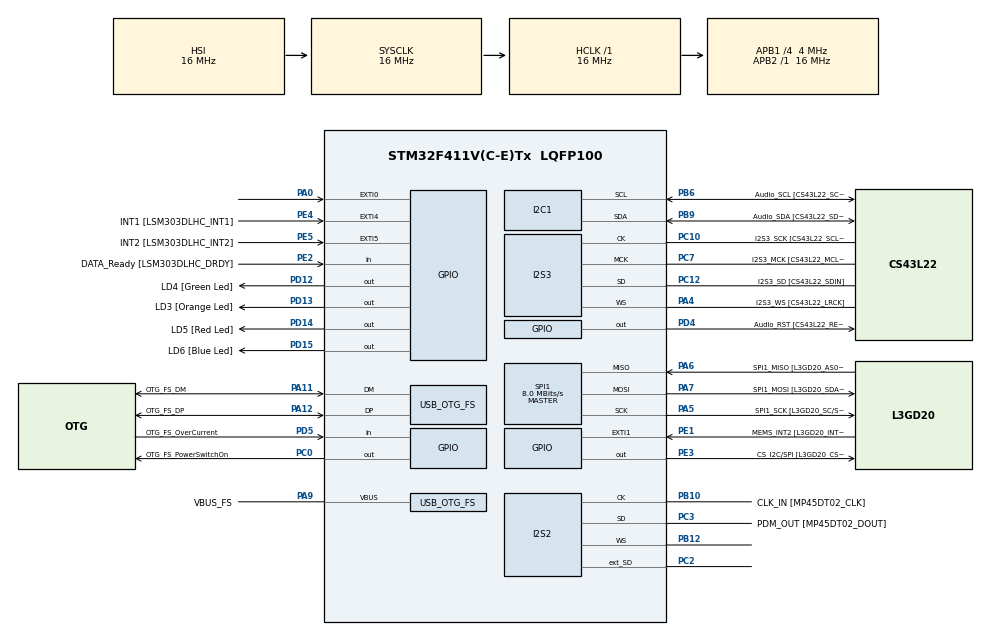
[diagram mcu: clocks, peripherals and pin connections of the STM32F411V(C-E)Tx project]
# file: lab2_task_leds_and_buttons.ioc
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I2S2.AudioFreq=I2S_AUDIOFREQ_96K
I2S2.ErrorAudioFreq=-1.35 %
I2S2.FullDuplexMode=I2S_FULLDUPLEXMODE_ENABLE
I2S2.Instance=SPI$Index
I2S2.RealAudioFreq=94.696 KHz
I2S2.VirtualMode=I2S_MODE_MASTER
I2S3.AudioFreq=I2S_AUDIOFREQ_96K
I2S3.ErrorAudioFreq=1.72 %
I2S3.FullDuplexMode=I2S_FULLDUPLEXMODE_DISABLE
I2S3.Instance=SPI$Index
I2S3.RealAudioFreq=97.656 KHz
I2S3.VirtualMode=I2S_MODE_MASTER
Mcu.Family=STM32F4
Mcu.Name=STM32F411V(C-E)Tx
Mcu.Package=LQFP100
NVIC.EXTI0_IRQn=true\:0\:0\:false\:false\:true\:true\:true\:true
NVIC.OTG_FS_IRQn=true\:0\:0\:false\:false\:true\:true\:true\:true
NVIC.PriorityGroup=NVIC_PRIORITYGROUP_0
PA0-WKUP.Signal=GPXTI0
PA10.GPIO_Label=OTG_FS_ID
PA10.Signal=USB_OTG_FS_ID
PA11.GPIO_Label=OTG_FS_DM
PA11.Mode=Host_Only
PA11.Signal=USB_OTG_FS_DM
PA12.GPIO_Label=OTG_FS_DP
PA12.Mode=Host_Only
PA12.Signal=USB_OTG_FS_DP
PA13.GPIO_Label=SWDIO
PA13.Mode=Serial_Wire
PA13.Signal=SYS_JTMS-SWDIO
PA14.GPIO_Label=SWCLK
PA14.Mode=Serial_Wire
PA14.Signal=SYS_JTCK-SWCLK
PA4.GPIO_Label=I2S3_WS [CS43L22_LRCK]
PA4.GPIO_Mode=GPIO_MODE_AF_PP
PA4.GPIO_PuPd=GPIO_NOPULL
PA4.GPIO_Speed=GPIO_SPEED_FREQ_LOW
PA4.Mode=Half_Duplex_Master
PA4.Signal=I2S3_WS
PA5.GPIO_Label=SPI1_SCK [L3GD20_SC/SPC]
PA5.Mode=Full_Duplex_Master
PA5.Signal=SPI1_SCK
PA6.GPIO_Label=SPI1_MISO [L3GD20_AS0/SDO]
PA6.Mode=Full_Duplex_Master
PA6.Signal=SPI1_MISO
PA7.GPIO_Label=SPI1_MOSI [L3GD20_SDA/SDI/SDO]
PA7.Mode=Full_Duplex_Master
PA7.Signal=SPI1_MOSI
PA9.GPIO_Label=VBUS_FS
PA9.Mode=Activate_VBUS
PA9.Signal=USB_OTG_FS_VBUS
PB10.GPIO_Label=CLK_IN [MP45DT02_CLK]
PB10.Mode=Full_Duplex_Master
PB10.Signal=I2S2_CK
PB12.Mode=Full_Duplex_Master
PB12.Signal=I2S2_WS
PB3.GPIO_Label=SWO
PB3.Signal=SYS_JTDO-SWO
PB6.GPIO_Label=Audio_SCL [CS43L22_SCL]
PB6.GPIO_Mode=GPIO_MODE_AF_OD
PB6.GPIO_Pu=GPIO_PULLUP
PB6.GPIO_PuPd=GPIO_NOPULL
PB6.GPIO_Speed=GPIO_SPEED_FREQ_LOW
PB6.Mode=I2C
PB6.Signal=I2C1_SCL
PB9.GPIO_Label=Audio_SDA [CS43L22_SDA]
PB9.GPIO_Mode=GPIO_MODE_AF_OD
PB9.GPIO_Pu=GPIO_PULLUP
PB9.GPIO_PuPd=GPIO_NOPULL
PB9.GPIO_Speed=GPIO_SPEED_FREQ_LOW
PB9.Mode=I2C
PB9.Signal=I2C1_SDA
PC0.GPIO_Label=OTG_FS_PowerSwitchOn
PC0.PinState=GPIO_PIN_SET
PC0.Signal=GPIO_Output
PC10.GPIO_Label=I2S3_SCK [CS43L22_SCLK]
PC10.GPIO_Mode=GPIO_MODE_AF_PP
PC10.GPIO_PuPd=GPIO_NOPULL
PC10.GPIO_Speed=GPIO_SPEED_FREQ_LOW
PC10.Mode=Half_Duplex_Master
PC10.Signal=I2S3_CK
PC12.GPIO_Label=I2S3_SD [CS43L22_SDIN]
PC12.GPIO_Mode=GPIO_MODE_AF_PP
PC12.GPIO_PuPd=GPIO_NOPULL
PC12.GPIO_Speed=GPIO_SPEED_FREQ_LOW
PC12.Mode=Half_Duplex_Master
PC12.Signal=I2S3_SD
PC14-OSC32_IN.GPIO_Label=PC14-OSC32_IN
PC14-OSC32_IN.Mode=LSE-External-Oscillator
PC14-OSC32_IN.Signal=RCC_OSC32_IN
PC15-OSC32_OUT.GPIO_Label=PC15-OSC32_OUT
PC15-OSC32_OUT.Mode=LSE-External-Oscillator
PC15-OSC32_OUT.Signal=RCC_OSC32_OUT
PC2.Mode=Full_Duplex_Master
PC2.Signal=I2S2_ext_SD
PC3.GPIO_Label=PDM_OUT [MP45DT02_DOUT]
PC3.Mode=Full_Duplex_Master
PC3.Signal=I2S2_SD
PC7.GPIO_Label=I2S3_MCK [CS43L22_MCLK]
PC7.GPIO_Mode=GPIO_MODE_AF_PP
PC7.GPIO_PuPd=GPIO_NOPULL
PC7.GPIO_Speed=GPIO_SPEED_FREQ_LOW
PC7.Mode=Master_Clock_Activated
PC7.Signal=I2S3_MCK
PD12.GPIO_Label=LD4 [Green Led]
PD12.GPIO_PuPd=GPIO_NOPULL
PD12.GPIO_Speed=GPIO_SPEED_FREQ_LOW
PD12.Signal=GPIO_Output
PD13.GPIO_Label=LD3 [Orange Led]
PD13.GPIO_PuPd=GPIO_NOPULL
PD13.GPIO_Speed=GPIO_SPEED_FREQ_LOW
PD13.Signal=GPIO_Output
PD14.GPIO_Label=LD5 [Red Led]
PD14.GPIO_PuPd=GPIO_NOPULL
PD14.GPIO_Speed=GPIO_SPEED_FREQ_LOW
PD14.Signal=GPIO_Output
PD15.GPIO_Label=LD6 [Blue Led]
PD15.GPIO_PuPd=GPIO_NOPULL
PD15.GPIO_Speed=GPIO_SPEED_FREQ_LOW
PD15.Signal=GPIO_Output
PD4.GPIO_Label=Audio_RST [CS43L22_RESET]
PD4.Signal=GPIO_Output
PD5.GPIO_Label=OTG_FS_OverCurrent
PD5.Signal=GPIO_Input
PE1.GPIO_Label=MEMS_INT2 [L3GD20_INT2]
PE1.GPIO_ModeDefaultEXTI=GPIO_MODE_EVT_RISING
PE1.Signal=GPXTI1
PE2.GPIO_Label=DATA_Ready [LSM303DLHC_DRDY]
PE2.Signal=GPIO_Input
PE3.GPIO_Label=CS_I2C/SPI [L3GD20_CS_I2C/SPI]
PE3.Signal=GPIO_Output
PE4.GPIO_Label=INT1 [LSM303DLHC_INT1]
PE4.GPIO_ModeDefaultEXTI=GPIO_MODE_EVT_RISING
PE4.Signal=GPXTI4
PE5.GPIO_Label=INT2 [LSM303DLHC_INT2]
PE5.GPIO_ModeDefaultEXTI=GPIO_MODE_EVT_RISING
PE5.Signal=GPXTI5
PH0\ -\ OSC_IN.GPIO_Label=PH0-OSC_IN
PH0\ -\ OSC_IN.Mode=HSE-External-Clock-Source
PH0\ -\ OSC_IN.Signal=RCC_OSC_IN
PH1\ -\ OSC_OUT.GPIO_Label=PH1-OSC_OUT
PH1\ -\ OSC_OUT.Mode=HSE-External-Clock-Source
PH1\ -\ OSC_OUT.Signal=RCC_OSC_OUT
ProjectManager.HeapSize=0x200
ProjectManager.StackSize=0x400
ProjectManager.TargetToolchain=STM32CubeIDE
RCC.48MHZClocksFreq_Value=48000000
RCC.AHBFreq_Value=16000000
RCC.APB1CLKDivider=RCC_HCLK_DIV4
RCC.APB1Freq_Value=4000000
RCC.APB1TimFreq_Value=8000000
RCC.APB2Freq_Value=16000000
RCC.APB2TimFreq_Value=16000000
RCC.CortexFreq_Value=16000000
RCC.HCLKFreq_Value=16000000
RCC.HSE_VALUE=8000000
RCC.HSI_VALUE=16000000
RCC.PLLI2SM=8
RCC.PLLI2SN=200
RCC.PLLI2SR=4
RCC.PLLM=8
RCC.PLLP=RCC_PLLP_DIV4
RCC.PLLQ=8
RCC.PLLSourceVirtualString=RCC_PLLSOURCE_HSI
RCC.SYSCLKFreq_VALUE=16000000
RCC.VCOOutputFreq_Value=384000000
SPI1.BaudRatePrescaler=SPI_BAUDRATEPRESCALER_2
SPI1.CalculateBaudRate=8.0 MBits/s
SPI1.Direction=SPI_DIRECTION_2LINES
SPI1.Mode=SPI_MODE_MASTER
SPI1.VirtualType=VM_MASTER
USB_HOST.BSP.number=1
USB_HOST.USBH_HandleTypeDef=hUsbHostFS
USB_HOST.VirtualModeFS=Cdc
USB_HOST0.BSP.STBoard=false
USB_HOST0.BSP.api=Unknown
USB_HOST0.BSP.instance=PC0
USB_HOST0.BSP.ip=GPIO
USB_HOST0.BSP.mode=Output
USB_HOST0.BSP.name=Drive_VBUS_FS
USB_HOST0.BSP.solution=PC0
USB_OTG_FS.VirtualMode=Host_Only
USB_OTG_FS.phy_itface=HCD_PHY_EMBEDDED
VP_USB_HOST_VS_USB_HOST_CDC_FS.Mode=CDC_FS
board=STM32F411E-DISCO

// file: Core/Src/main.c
/* USER CODE BEGIN Header */
/**
  ******************************************************************************
  * @file           : main.c
  * @brief          : Main program body
  ******************************************************************************
  * @attention
  *
  * Copyright (c) 2025 STMicroelectronics.
  * All rights reserved.
  *
  * This software is licensed under terms that can be found in the LICENSE file
  * in the root directory of this software component.
  * If no LICENSE file comes with this software, it is provided AS-IS.
  *
  ******************************************************************************
  */
/* USER CODE END Header */
#include "main.h"
#include "usb_host.h"

/* USER CODE BEGIN PTD */
typedef int bool;

typedef struct {
	bool LD3;
	bool LD4;
	bool LD5;
	bool LD6;
} AnimationStep;

typedef struct {
	AnimationStep step[4];
} AnimationType;

typedef struct {
	int type;
	int step;
	AnimationType animations[4];
} Animation;

/* USER CODE END PTD */

/* USER CODE BEGIN PD */
#define LED_SWITCH_DELAY 500
#define ANIMATION_COUNT 4
#define TRUE 1
#define FALSE 0
/* USER CODE END PD */

I2C_HandleTypeDef hi2c1;

I2S_HandleTypeDef hi2s2;
I2S_HandleTypeDef hi2s3;

SPI_HandleTypeDef hspi1;

/* USER CODE BEGIN PV */
unsigned int blinkMode = 0;
/* USER CODE END PV */

void SystemClock_Config(void);
void PeriphCommonClock_Config(void);
static void MX_GPIO_Init(void);
static void MX_I2C1_Init(void);
static void MX_I2S2_Init(void);
static void MX_I2S3_Init(void);
static void MX_SPI1_Init(void);
void MX_USB_HOST_Process(void);

/* USER CODE BEGIN PFP */

void nextAnimation(Animation* animation) {
	animation->step = 0;
	animation->type++;
	if (animation->type >= ANIMATION_COUNT) {
		animation->type = 0;
	}
}

void nextStep(Animation* animation) {
	animation->step++;
	if (animation->step >= ANIMATION_COUNT) {
		animation->step = 0;
	}
}

void animate(const Animation* animation) {
	resetLED();
	if (animation->animations[animation->type].step[animation->step].LD3) {
		toggleLD3();
	}

	if (animation->animations[animation->type].step[animation->step].LD4) {
		toggleLD5();
	}

	if (animation->animations[animation->type].step[animation->step].LD5) {
		toggleLD6();
	}

	if (animation->animations[animation->type].step[animation->step].LD6) {
		toggleLD4();
	}
}

AnimationType onClockAnim(void) {
	AnimationStep step1 = {
		TRUE,
		FALSE,
		FALSE,
		FALSE
	};

	AnimationStep step2 = {
		FALSE,
		TRUE,
		FALSE,
		FALSE
	};

	AnimationStep step3 = {
		FALSE,
		FALSE,
		TRUE,
		FALSE
	};

	AnimationStep step4 = {
		FALSE,
		FALSE,
		FALSE,
		TRUE
	};

	AnimationType type;
	type.step[0] = step1;
	type.step[1] = step2;
	type.step[2] = step3;
	type.step[3] = step4;
	return type;
}

AnimationType againstClockAnim(void) {
	AnimationStep step1 = {
		TRUE,
		FALSE,
		FALSE,
		FALSE
	};

	AnimationStep step2 = {
		FALSE,
		FALSE,
		FALSE,
		TRUE
	};

	AnimationStep step3 = {
		FALSE,
		FALSE,
		TRUE,
		FALSE
	};

	AnimationStep step4 = {
		FALSE,
		TRUE,
		FALSE,
		FALSE
	};

	AnimationStep step[4] = {step1, step2, step3, step4};

	AnimationType type;
	type.step[0] = step1;
	type.step[1] = step2;
	type.step[2] = step3;
	type.step[3] = step4;
	return type;
}

AnimationType onClockAnimInv(void) {
	AnimationStep step1 = {
		FALSE,
		TRUE,
		TRUE,
		TRUE
	};

	AnimationStep step2 = {
		TRUE,
		FALSE,
		TRUE,
		TRUE
	};

	AnimationStep step3 = {
		TRUE,
		TRUE,
		FALSE,
		TRUE
	};

	AnimationStep step4 = {
		TRUE,
		TRUE,
		TRUE,
		FALSE
	};

	AnimationType type;
	type.step[0] = step1;
	type.step[1] = step2;
	type.step[2] = step3;
	type.step[3] = step4;
	return type;
}

AnimationType againstClockAnimInv(void) {
	AnimationStep step1 = {
		FALSE,
		TRUE,
		TRUE,
		TRUE
	};

	AnimationStep step2 = {
		TRUE,
		TRUE,
		TRUE,
		FALSE
	};

	AnimationStep step3 = {
		TRUE,
		TRUE,
		FALSE,
		TRUE
	};

	AnimationStep step4 = {
		TRUE,
		FALSE,
		TRUE,
		TRUE
	};

	AnimationType type;
	type.step[0] = step1;
	type.step[1] = step2;
	type.step[2] = step3;
	type.step[3] = step4;
	return type;
}

Animation newAnimation(void) {
	Animation animation;
	animation.step = 0;
	animation.type = 0;

	AnimationType anim1 = onClockAnim();
	AnimationType anim2 = onClockAnimInv();
	AnimationType anim3 = againstClockAnim();
	AnimationType anim4 = againstClockAnimInv();

	animation.animations[0] = anim1;
	animation.animations[1] = anim2;
	animation.animations[2] = anim3;
	animation.animations[3] = anim4;

	return animation;
}

void resetLED(void) {
	HAL_GPIO_WritePin(GPIOD, LD3_Pin, GPIO_PIN_RESET);
	HAL_GPIO_WritePin(GPIOD, LD4_Pin, GPIO_PIN_RESET);
	HAL_GPIO_WritePin(GPIOD, LD5_Pin, GPIO_PIN_RESET);
	HAL_GPIO_WritePin(GPIOD, LD6_Pin, GPIO_PIN_RESET);
}

void toggleLD3(void) {
	HAL_GPIO_TogglePin(GPIOD, LD3_Pin);
}

void toggleLD4(void) {
	HAL_GPIO_TogglePin(GPIOD, LD4_Pin);
}

void toggleLD5(void) {
	HAL_GPIO_TogglePin(GPIOD, LD5_Pin);
}

void toggleLD6(void) {
	HAL_GPIO_TogglePin(GPIOD, LD6_Pin);
}

void wait(void) {
	HAL_Delay(LED_SWITCH_DELAY);
}

/* USER CODE END PFP */

/* USER CODE BEGIN 0 */

unsigned int userCode = 0;
Animation animation;

/* USER CODE END 0 */

int main(void)
{

  /* MCU Configuration--------------------------------------------------------*/

  /* Reset of all peripherals, Initializes the Flash interface and the Systick. */
  HAL_Init();

  /* Configure the system clock */
  SystemClock_Config();

  /* Configure the peripherals common clocks */
  PeriphCommonClock_Config();

  /* Initialize all configured peripherals */
  MX_GPIO_Init();
  MX_I2C1_Init();
  MX_I2S2_Init();
  MX_I2S3_Init();
  MX_SPI1_Init();
  MX_USB_HOST_Init();
  /* USER CODE BEGIN 2 */

  animation = newAnimation();
  /* USER CODE END 2 */

  /* Infinite loop */
  while (1)
  {
    MX_USB_HOST_Process();

    /* USER CODE BEGIN 3 */
    animate(&animation);
    nextStep(&animation);
    wait();
  }
  /* USER CODE END 3 */
}

void EXTI0_IRQHandler(void)
{
  HAL_GPIO_EXTI_IRQHandler(GPIO_PIN_0);
  /* USER CODE BEGIN EXTI0_IRQn 1 */
  nextAnimation(&animation);

  /* USER CODE END EXTI0_IRQn 1 */
}
void SystemClock_Config(void)
{
  RCC_OscInitTypeDef RCC_OscInitStruct = {0};
  RCC_ClkInitTypeDef RCC_ClkInitStruct = {0};

  /** Configure the main internal regulator output voltage
  */
  __HAL_RCC_PWR_CLK_ENABLE();
  __HAL_PWR_VOLTAGESCALING_CONFIG(PWR_REGULATOR_VOLTAGE_SCALE1);

  /** Initializes the RCC Oscillators according to the specified parameters
  * in the RCC_OscInitTypeDef structure.
  */
  RCC_OscInitStruct.OscillatorType = RCC_OSCILLATORTYPE_HSI;
  RCC_OscInitStruct.HSIState = RCC_HSI_ON;
  RCC_OscInitStruct.HSICalibrationValue = RCC_HSICALIBRATION_DEFAULT;
  RCC_OscInitStruct.PLL.PLLState = RCC_PLL_ON;
  RCC_OscInitStruct.PLL.PLLSource = RCC_PLLSOURCE_HSI;
  RCC_OscInitStruct.PLL.PLLM = 8;
  RCC_OscInitStruct.PLL.PLLN = 192;
  RCC_OscInitStruct.PLL.PLLP = RCC_PLLP_DIV4;
  RCC_OscInitStruct.PLL.PLLQ = 8;
  if (HAL_RCC_OscConfig(&RCC_OscInitStruct) != HAL_OK)
  {
    Error_Handler();
  }

  /** Initializes the CPU, AHB and APB buses clocks
  */
  RCC_ClkInitStruct.ClockType = RCC_CLOCKTYPE_HCLK|RCC_CLOCKTYPE_SYSCLK
                              |RCC_CLOCKTYPE_PCLK1|RCC_CLOCKTYPE_PCLK2;
  RCC_ClkInitStruct.SYSCLKSource = RCC_SYSCLKSOURCE_HSI;
  RCC_ClkInitStruct.AHBCLKDivider = RCC_SYSCLK_DIV1;
  RCC_ClkInitStruct.APB1CLKDivider = RCC_HCLK_DIV4;
  RCC_ClkInitStruct.APB2CLKDivider = RCC_HCLK_DIV1;

  if (HAL_RCC_ClockConfig(&RCC_ClkInitStruct, FLASH_LATENCY_0) != HAL_OK)
  {
    Error_Handler();
  }
}

void PeriphCommonClock_Config(void)
{
  RCC_PeriphCLKInitTypeDef PeriphClkInitStruct = {0};

  /** Initializes the peripherals clock
  */
  PeriphClkInitStruct.PeriphClockSelection = RCC_PERIPHCLK_I2S;
  PeriphClkInitStruct.PLLI2S.PLLI2SN = 200;
  PeriphClkInitStruct.PLLI2S.PLLI2SM = 8;
  PeriphClkInitStruct.PLLI2S.PLLI2SR = 4;
  if (HAL_RCCEx_PeriphCLKConfig(&PeriphClkInitStruct) != HAL_OK)
  {
    Error_Handler();
  }
}

static void MX_I2C1_Init(void)
{

  hi2c1.Instance = I2C1;
  hi2c1.Init.ClockSpeed = 100000;
  hi2c1.Init.DutyCycle = I2C_DUTYCYCLE_2;
  hi2c1.Init.OwnAddress1 = 0;
  hi2c1.Init.AddressingMode = I2C_ADDRESSINGMODE_7BIT;
  hi2c1.Init.DualAddressMode = I2C_DUALADDRESS_DISABLE;
  hi2c1.Init.OwnAddress2 = 0;
  hi2c1.Init.GeneralCallMode = I2C_GENERALCALL_DISABLE;
  hi2c1.Init.NoStretchMode = I2C_NOSTRETCH_DISABLE;
  if (HAL_I2C_Init(&hi2c1) != HAL_OK)
  {
    Error_Handler();
  }

}

static void MX_I2S2_Init(void)
{

  hi2s2.Instance = SPI2;
  hi2s2.Init.Mode = I2S_MODE_MASTER_TX;
  hi2s2.Init.Standard = I2S_STANDARD_PHILIPS;
  hi2s2.Init.DataFormat = I2S_DATAFORMAT_16B;
  hi2s2.Init.MCLKOutput = I2S_MCLKOUTPUT_DISABLE;
  hi2s2.Init.AudioFreq = I2S_AUDIOFREQ_96K;
  hi2s2.Init.CPOL = I2S_CPOL_LOW;
  hi2s2.Init.ClockSource = I2S_CLOCK_PLL;
  hi2s2.Init.FullDuplexMode = I2S_FULLDUPLEXMODE_ENABLE;
  if (HAL_I2S_Init(&hi2s2) != HAL_OK)
  {
    Error_Handler();
  }

}

static void MX_I2S3_Init(void)
{

  hi2s3.Instance = SPI3;
  hi2s3.Init.Mode = I2S_MODE_MASTER_TX;
  hi2s3.Init.Standard = I2S_STANDARD_PHILIPS;
  hi2s3.Init.DataFormat = I2S_DATAFORMAT_16B;
  hi2s3.Init.MCLKOutput = I2S_MCLKOUTPUT_ENABLE;
  hi2s3.Init.AudioFreq = I2S_AUDIOFREQ_96K;
  hi2s3.Init.CPOL = I2S_CPOL_LOW;
  hi2s3.Init.ClockSource = I2S_CLOCK_PLL;
  hi2s3.Init.FullDuplexMode = I2S_FULLDUPLEXMODE_DISABLE;
  if (HAL_I2S_Init(&hi2s3) != HAL_OK)
  {
    Error_Handler();
  }

}

static void MX_SPI1_Init(void)
{

  /* SPI1 parameter configuration*/
  hspi1.Instance = SPI1;
  hspi1.Init.Mode = SPI_MODE_MASTER;
  hspi1.Init.Direction = SPI_DIRECTION_2LINES;
  hspi1.Init.DataSize = SPI_DATASIZE_8BIT;
  hspi1.Init.CLKPolarity = SPI_POLARITY_LOW;
  hspi1.Init.CLKPhase = SPI_PHASE_1EDGE;
  hspi1.Init.NSS = SPI_NSS_SOFT;
  hspi1.Init.BaudRatePrescaler = SPI_BAUDRATEPRESCALER_2;
  hspi1.Init.FirstBit = SPI_FIRSTBIT_MSB;
  hspi1.Init.TIMode = SPI_TIMODE_DISABLE;
  hspi1.Init.CRCCalculation = SPI_CRCCALCULATION_DISABLE;
  hspi1.Init.CRCPolynomial = 10;
  if (HAL_SPI_Init(&hspi1) != HAL_OK)
  {
    Error_Handler();
  }

}

static void MX_GPIO_Init(void)
{
  GPIO_InitTypeDef GPIO_InitStruct = {0};

  /* GPIO Ports Clock Enable */
  __HAL_RCC_GPIOE_CLK_ENABLE();
  __HAL_RCC_GPIOC_CLK_ENABLE();
  __HAL_RCC_GPIOH_CLK_ENABLE();
  __HAL_RCC_GPIOA_CLK_ENABLE();
  __HAL_RCC_GPIOB_CLK_ENABLE();
  __HAL_RCC_GPIOD_CLK_ENABLE();

  /*Configure GPIO pin Output Level */
  HAL_GPIO_WritePin(CS_I2C_SPI_GPIO_Port, CS_I2C_SPI_Pin, GPIO_PIN_RESET);

  /*Configure GPIO pin Output Level */
  HAL_GPIO_WritePin(OTG_FS_PowerSwitchOn_GPIO_Port, OTG_FS_PowerSwitchOn_Pin, GPIO_PIN_SET);

  /*Configure GPIO pin Output Level */
  HAL_GPIO_WritePin(GPIOD, LD4_Pin|LD3_Pin|LD5_Pin|LD6_Pin
                          |Audio_RST_Pin, GPIO_PIN_RESET);

  /*Configure GPIO pin : DATA_Ready_Pin */
  GPIO_InitStruct.Pin = DATA_Ready_Pin;
  GPIO_InitStruct.Mode = GPIO_MODE_INPUT;
  GPIO_InitStruct.Pull = GPIO_NOPULL;
  HAL_GPIO_Init(DATA_Ready_GPIO_Port, &GPIO_InitStruct);

  /*Configure GPIO pin : CS_I2C_SPI_Pin */
  GPIO_InitStruct.Pin = CS_I2C_SPI_Pin;
  GPIO_InitStruct.Mode = GPIO_MODE_OUTPUT_PP;
  GPIO_InitStruct.Pull = GPIO_NOPULL;
  GPIO_InitStruct.Speed = GPIO_SPEED_FREQ_LOW;
  HAL_GPIO_Init(CS_I2C_SPI_GPIO_Port, &GPIO_InitStruct);

  /*Configure GPIO pins : INT1_Pin INT2_Pin MEMS_INT2_Pin */
  GPIO_InitStruct.Pin = INT1_Pin|INT2_Pin|MEMS_INT2_Pin;
  GPIO_InitStruct.Mode = GPIO_MODE_EVT_RISING;
  GPIO_InitStruct.Pull = GPIO_NOPULL;
  HAL_GPIO_Init(GPIOE, &GPIO_InitStruct);

  /*Configure GPIO pin : OTG_FS_PowerSwitchOn_Pin */
  GPIO_InitStruct.Pin = OTG_FS_PowerSwitchOn_Pin;
  GPIO_InitStruct.Mode = GPIO_MODE_OUTPUT_PP;
  GPIO_InitStruct.Pull = GPIO_NOPULL;
  GPIO_InitStruct.Speed = GPIO_SPEED_FREQ_LOW;
  HAL_GPIO_Init(OTG_FS_PowerSwitchOn_GPIO_Port, &GPIO_InitStruct);

  /*Configure GPIO pin : PA0 */
  GPIO_InitStruct.Pin = GPIO_PIN_0;
  GPIO_InitStruct.Mode = GPIO_MODE_IT_RISING;
  GPIO_InitStruct.Pull = GPIO_NOPULL;
  HAL_GPIO_Init(GPIOA, &GPIO_InitStruct);

  /*Configure GPIO pins : LD4_Pin LD3_Pin LD5_Pin LD6_Pin
                           Audio_RST_Pin */
  GPIO_InitStruct.Pin = LD4_Pin|LD3_Pin|LD5_Pin|LD6_Pin
                          |Audio_RST_Pin;
  GPIO_InitStruct.Mode = GPIO_MODE_OUTPUT_PP;
  GPIO_InitStruct.Pull = GPIO_NOPULL;
  GPIO_InitStruct.Speed = GPIO_SPEED_FREQ_LOW;
  HAL_GPIO_Init(GPIOD, &GPIO_InitStruct);

  /*Configure GPIO pin : OTG_FS_OverCurrent_Pin */
  GPIO_InitStruct.Pin = OTG_FS_OverCurrent_Pin;
  GPIO_InitStruct.Mode = GPIO_MODE_INPUT;
  GPIO_InitStruct.Pull = GPIO_NOPULL;
  HAL_GPIO_Init(OTG_FS_OverCurrent_GPIO_Port, &GPIO_InitStruct);

  /* EXTI interrupt init*/
  HAL_NVIC_SetPriority(EXTI0_IRQn, 0, 0);
  HAL_NVIC_EnableIRQ(EXTI0_IRQn);

}

void Error_Handler(void)
{
  __disable_irq();
  while (1)
  {
  }
}
